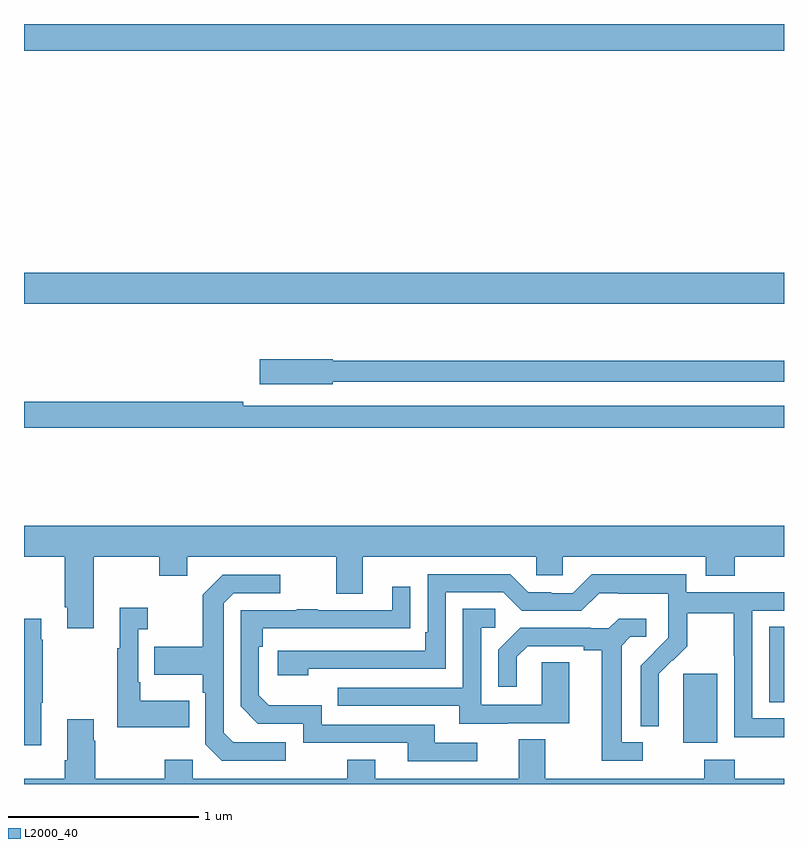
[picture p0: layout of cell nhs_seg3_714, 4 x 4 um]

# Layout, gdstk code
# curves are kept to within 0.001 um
import gdstk
lib = gdstk.Library(unit=1e-6, precision=1e-09)
def R(c, l, rs):  # rectangles x0, y0, x1, y1
    for r in rs: c.add(gdstk.rectangle(r[:2], r[2:], *l))
def P(c, l, *ps):  # polygons
    for p in ps: c.add(gdstk.Polygon(p, *l))
L2000_40 = (2000, 40)

nhs_seg3_714 = lib.new_cell('nhs_seg3_714')
R(nhs_seg3_714, L2000_40, [(150.47,686.618,150.649,686.979), (150.923,686.83,151,687.227), (147,688.928,151,689.092), (147,690.26,151,690.4)])
P(nhs_seg3_714, L2000_40, [(148.626,688.518),(151,688.518),(151,688.627),(148.626,688.627),(148.626,688.635),(148.242,688.635),(148.242,688.505),(148.626,688.505)],
  [(151,688.392),(148.154,688.392),(148.154,688.412),(147,688.412),(147,688.276),(151,688.276)],
  [(147.367,687.596),(147.712,687.596),(147.712,687.497),(147.859,687.497),(147.859,687.596),(148.643,687.596),(148.643,687.402),(148.783,687.402),(148.783,687.596),(149.697,687.596),(149.697,687.498),(149.835,687.498),(149.835,687.596),(150.587,687.596),(150.587,687.497),(150.74,687.497),(150.74,687.596),(151,687.596),(151,687.76),(147,687.76),(147,687.596),(147.215,687.596),(147.215,687.331),(147.227,687.331),(147.227,687.219),(147.367,687.219)],
  [(151,686.745),(150.834,686.745),(150.834,687.312),(151,687.312),(151,687.408),(150.486,687.408),(150.486,687.505),(149.989,687.505),(149.889,687.405),(149.774,687.405),(149.774,687.408),(149.655,687.408),(149.559,687.504),(149.124,687.504),(149.124,687.199),(149.111,687.199),(149.111,687.102),(148.335,687.102),(148.335,686.972),(148.496,686.972),(148.496,687.006),(149.22,687.006),(149.22,687.408),(149.523,687.408),(149.619,687.312),(149.934,687.312),(150.027,687.405),(150.127,687.405),(150.127,687.401),(150.39,687.401),(150.39,687.267),(150.392,687.267),(150.392,687.17),(150.246,687.022),(150.246,686.704),(150.342,686.704),(150.341,686.981),(150.411,687.051),(150.414,687.048),(150.491,687.125),(150.491,687.3),(150.736,687.3),(150.736,687.076),(150.738,687.076),(150.738,686.647),(151,686.647)],
  [(148.378,686.619),(148.101,686.619),(148.05,686.67),(148.05,687.351),(148.104,687.405),(148.348,687.405),(148.348,687.501),(148.047,687.501),(147.942,687.395),(147.942,687.123),(147.685,687.123),(147.685,686.975),(147.942,686.975),(147.942,686.879),(147.954,686.879),(147.954,686.61),(148.041,686.523),(148.378,686.523)],
  [(149.386,686.616),(149.161,686.616),(149.161,686.712),(148.566,686.712),(148.566,686.815),(148.289,686.815),(148.236,686.868),(148.236,687.122),(148.256,687.122),(148.256,687.219),(149.033,687.22),(149.033,687.439),(148.937,687.439),(148.937,687.315),(148.547,687.315),(148.547,687.32),(148.435,687.32),(148.435,687.315),(148.14,687.315),(148.14,686.808),(148.23,686.718),(148.47,686.718),(148.47,686.616),(149.021,686.616),(149.021,686.52),(149.386,686.52)],
  [(147.869,686.839),(147.613,686.839),(147.613,686.935),(147.6,686.935),(147.6,687.215),(147.652,687.215),(147.652,687.328),(147.503,687.328),(147.503,687.115),(147.492,687.115),(147.492,686.699),(147.869,686.699)],
  [(149.545,686.721),(149.869,686.721),(149.869,687.041),(149.724,687.041),(149.724,686.817),(149.406,686.817),(149.406,687.222),(149.479,687.222),(149.479,687.323),(149.31,687.323),(149.31,686.907),(148.651,686.907),(148.651,686.811),(149.291,686.811),(149.291,686.717),(149.545,686.717)],
  [(150.256,686.619),(150.145,686.619),(150.145,687.127),(150.192,687.174),(150.274,687.174),(150.274,687.271),(150.13,687.271),(150.078,687.219),(149.984,687.219),(149.984,687.222),(149.612,687.222),(149.496,687.106),(149.496,686.913),(149.593,686.913),(149.593,687.069),(149.65,687.126),(149.945,687.126),(149.945,687.104),(150.041,687.104),(150.041,686.523),(150.256,686.523)],
  [(147.091,686.827),(147.099,686.827),(147.099,687.158),(147.091,687.158),(147.091,687.271),(147,687.271),(147,686.604),(147.091,686.604)],
  [(151,686.428),(150.74,686.428),(150.74,686.527),(150.58,686.527),(150.58,686.428),(149.743,686.428),(149.743,686.636),(149.603,686.636),(149.603,686.428),(148.849,686.428),(148.849,686.527),(148.702,686.527),(148.702,686.428),(147.888,686.428),(147.888,686.527),(147.742,686.527),(147.742,686.428),(147.375,686.428),(147.375,686.627),(147.367,686.627),(147.367,686.74),(147.227,686.74),(147.227,686.524),(147.215,686.524),(147.215,686.428),(147,686.428),(147,686.4),(151,686.4)])

lib.write_gds('nhs_seg3_714.gds')
